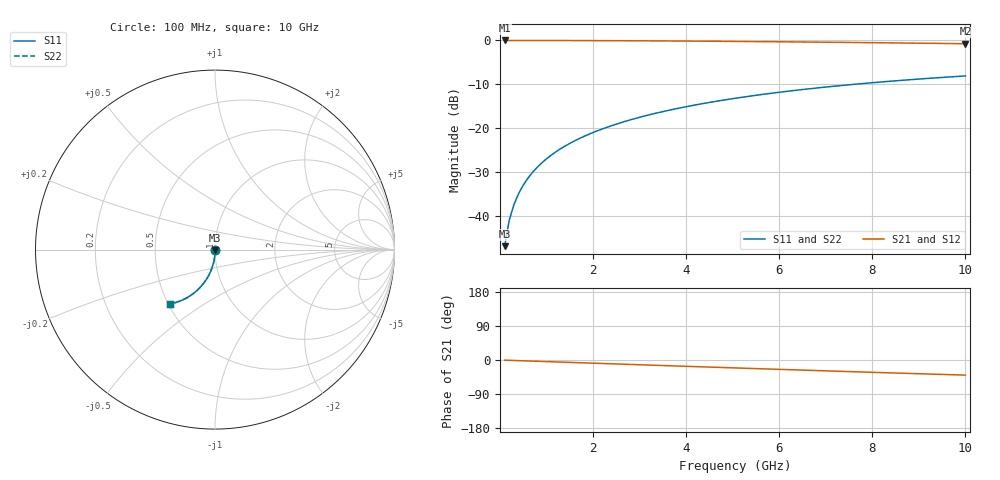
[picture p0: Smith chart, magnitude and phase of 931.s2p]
# Hz S RI R 50.00
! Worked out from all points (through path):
!   100 points, 100 MHz to 10 GHz, reference 50 ohm
!   highest |S21| = -0.01 dB at 100 MHz (marker M1); lowest = -0.7 dB at 10 GHz (marker M2)
!   group delay of S21, straight-line fit = 11.1 ps
!   lowest |S11| = -46.8 dB at 100 MHz (marker M3), VSWR 1.01, Z = 50.1 - j0.451 ohm
!   |S11| at or under -10 dB: start of sweep to 7.605 GHz
!   |S22| runs from -46.8 to -8.1 dB; largest |S21 - S12| = 0
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1e8  0.000655 -0.0045  0.9993 -0.00731  0.9993 -0.00731  0.000655 -0.0045
2e8  0.000555 -0.009  0.9991 -0.0146  0.9991 -0.0146  0.000555 -0.009
3e8  0.000389 -0.0135  0.9989 -0.0219  0.9989 -0.0219  0.000389 -0.0135
4e8  0.000156 -0.018  0.9987 -0.0292  0.9987 -0.0292  0.000156 -0.018
5e8  -0.000144 -0.0225  0.9983 -0.0365  0.9983 -0.0365  -0.000144 -0.0225
6e8  -0.000509 -0.027  0.9979 -0.0438  0.9979 -0.0438  -0.000509 -0.027
7e8  -0.000939 -0.0314  0.9974 -0.0511  0.9974 -0.0511  -0.000939 -0.0314
8e8  -0.00144 -0.0359  0.9969 -0.0584  0.9969 -0.0584  -0.00144 -0.0359
9e8  -0.002 -0.0404  0.9963 -0.0657  0.9963 -0.0657  -0.002 -0.0404
1.1e9  -0.00331 -0.0493  0.9948 -0.0802  0.9948 -0.0802  -0.00331 -0.0493
1.4e9  -0.00578 -0.0625  0.992 -0.1019  0.992 -0.1019  -0.00578 -0.0625
1.8e9  -0.00995 -0.08  0.9873 -0.1306  0.9873 -0.1306  -0.00995 -0.08
2.1e9  -0.0137 -0.0928  0.983 -0.152  0.983 -0.152  -0.0137 -0.0928
2.5e9  -0.0196 -0.1097  0.9764 -0.1801  0.9764 -0.1801  -0.0196 -0.1097
2.9e9  -0.0265 -0.1262  0.9687 -0.2079  0.9687 -0.2079  -0.0265 -0.1262
3.4e9  -0.0363 -0.146  0.9576 -0.2419  0.9576 -0.2419  -0.0363 -0.146
4.2e9  -0.0548 -0.176  0.9366 -0.2946  0.9366 -0.2946  -0.0548 -0.176
5.1e9  -0.0792 -0.2066  0.9088 -0.3508  0.9088 -0.3508  -0.0792 -0.2066
5.9e9  -0.1037 -0.2307  0.8807 -0.3977  0.8807 -0.3977  -0.1037 -0.2307
6.7e9  -0.1303 -0.2517  0.8499 -0.4416  0.8499 -0.4416  -0.1303 -0.2517
8.4e9  -0.1917 -0.2851  0.7776 -0.5241  0.7776 -0.5241  -0.1917 -0.2851
1e10  -0.2525 -0.3027  0.704 -0.5884  0.704 -0.5884  -0.2525 -0.3027
